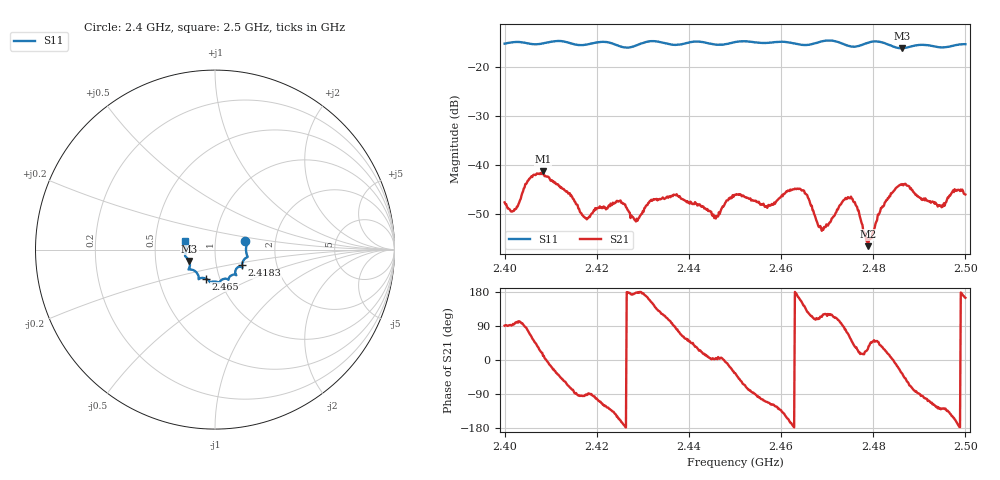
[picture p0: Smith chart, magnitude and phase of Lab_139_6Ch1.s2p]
# Hz S RI R 50
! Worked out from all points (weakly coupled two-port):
!   601 points, 2.4 GHz to 2.5 GHz, reference 50 ohm
!   highest |S21| = -41.22 dB at 2.4083 GHz (marker M1); lowest = -56.5 dB at 2.4788 GHz (marker M2)
!   lowest |S11| = -16.1 dB at 2.4862 GHz (marker M3), VSWR 1.37, Z = 37.1 - j4.81 ohm
!   |S11| at or under -10 dB: start of sweep to end of sweep
!   S12 and S22 are empty: the file has one direction only
!   S11 on the Smith chart (normalised r, x): 2.4 GHz: 1.40, +0.14; 2.4183 GHz: 1.33, -0.24; 2.465 GHz: 0.86, -0.28; 2.5 GHz: 0.71, +0.07
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2.4e9  0.1688 0.0469  -4.55e-05 0.00419  0 0  0 0
2.402e9  0.1776 0.0374  -0.000233 0.00342  0 0  0 0
2.405333e9  0.1746 0.0156  0.00233 0.00691  0 0  0 0
2.408333e9  0.1747 -0.0196  0.00854 0.00165  0 0  0 0
2.416667e9  0.1547 -0.0682  -0.000233 -0.00322  0 0  0 0
2.418333e9  0.1503 -0.087  1.91e-05 -0.003  0 0  0 0
2.424667e9  0.1371 -0.0951  -0.00384 -0.00186  0 0  0 0
2.428667e9  0.1127 -0.1255  -0.00285 0.000107  0 0  0 0
2.433333e9  0.1175 -0.1409  -0.0029 0.00345  0 0  0 0
2.437167e9  0.0894 -0.1449  0.000574 0.00493  0 0  0 0
2.445833e9  0.0549 -0.1622  0.00286 0.000256  0 0  0 0
2.45e9  0.0262 -0.18  0.00411 -0.00281  0 0  0 0
2.457e9  -0.00956 -0.1781  -0.00131 -0.00345  0 0  0 0
2.465e9  -0.0524 -0.1613  -0.0044 0.00329  0 0  0 0
2.466667e9  -0.0711 -0.1576  -0.00169 0.00349  0 0  0 0
2.469167e9  -0.0896 -0.1634  -0.00112 0.0019  0 0  0 0
2.475e9  -0.1009 -0.1299  0.00249 0.00388  0 0  0 0
2.478833e9  -0.1408 -0.1108  0.00131 0.000728  0 0  0 0
2.483333e9  -0.1411 -0.0968  0.00449 0.00117  0 0  0 0
2.486167e9  -0.144 -0.0631  0.00532 -0.00364  0 0  0 0
2.494333e9  -0.1609 -0.00519  -0.00241 -0.00303  0 0  0 0
2.5e9  -0.1664 0.0467  -0.00486 0.00137  0 0  0 0
